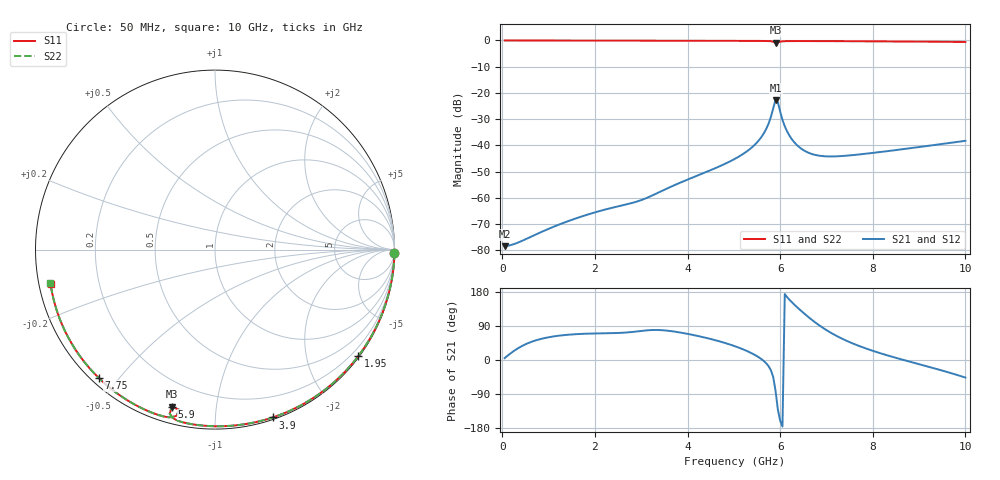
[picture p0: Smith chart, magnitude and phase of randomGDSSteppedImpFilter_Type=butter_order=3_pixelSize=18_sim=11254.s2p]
! freq	dB(S11)	phase(S11)	dB(S12)	phase(S12)
!  dB(S21)	phase(S21)	dB(S22)	phase(S22)
!S-par simulation data
#  GHz  S  DB  R 50
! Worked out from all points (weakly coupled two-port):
!   200 points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, 50 MHz to 10 GHz, reference 50 ohm
!   highest |S21| = -22.66 dB at 5.9 GHz (marker M1); lowest = -78.5 dB at 50 MHz (marker M2)
!   lowest |S11| = -0.8 dB at 5.9 GHz (marker M3), VSWR 20.59, Z = 3.83 - j38 ohm
!   |S11| at or under -10 dB: nowhere
!   |S22| runs from -0.9 to 0.0 dB; largest |S21 - S12| = 0
!   S11 on the Smith chart (normalised r, x): 50 MHz: open; 1.95 GHz: 0.03, -3.03; 3.9 GHz: 0.02, -1.40; 5.9 GHz: 0.08, -0.76; 7.75 GHz: 0.02, -0.44; 10 GHz: 0.03, -0.10
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0.05  -0.00 -1.0  -78.46 4.9  -78.46 4.9  -0.00 -1.0
0.85  -0.02 -16.1  -72.99 56.1  -72.99 56.1  -0.02 -16.2
1.75  -0.04 -32.9  -66.92 69.1  -66.92 69.1  -0.04 -32.9
1.95  -0.05 -36.6  -65.83 69.9  -65.83 69.9  -0.05 -36.6
2.9  -0.07 -53.7  -61.48 75.3  -61.48 75.3  -0.07 -53.7
3.4  -0.08 -62.4  -57.78 79.0  -57.78 79.0  -0.08 -62.5
3.9  -0.10 -71.1  -53.80 71.3  -53.80 71.3  -0.10 -71.1
5.05  -0.14 -90.3  -44.89 35.2  -44.89 35.2  -0.14 -90.3
5.35  -0.16 -95.3  -41.37 19.9  -41.37 19.9  -0.16 -95.4
5.6  -0.18 -99.7  -36.71 1.9  -36.71 1.9  -0.18 -99.7
5.75  -0.23 -102.8  -31.72 -16.3  -31.72 -16.3  -0.23 -102.8
5.9  -0.84 -105.4  -22.66 -81.0  -22.66 -81.0  -0.85 -105.4
5.95  -0.77 -102.6  -23.50 -130.4  -23.50 -130.4  -0.78 -102.6
6.05  -0.33 -104.3  -30.28 -175.7  -30.28 -175.7  -0.33 -104.3
6.1  -0.27 -105.4  -32.74 174.0  -32.74 174.0  -0.28 -105.4
6.25  -0.23 -108.3  -37.61 152.7  -37.61 152.7  -0.23 -108.3
6.45  -0.23 -111.7  -41.21 129.9  -41.21 129.9  -0.23 -111.8
6.7  -0.24 -115.8  -43.39 104.5  -43.39 104.5  -0.24 -115.8
7.1  -0.26 -122.1  -44.24 71.5  -44.24 71.5  -0.26 -122.1
7.75  -0.31 -132.3  -43.39 34.9  -43.39 34.9  -0.31 -132.3
8.35  -0.37 -141.7  -42.14 11.0  -42.14 11.0  -0.37 -141.7
10  -0.58 -168.3  -38.28 -46.3  -38.28 -46.3  -0.58 -168.4
